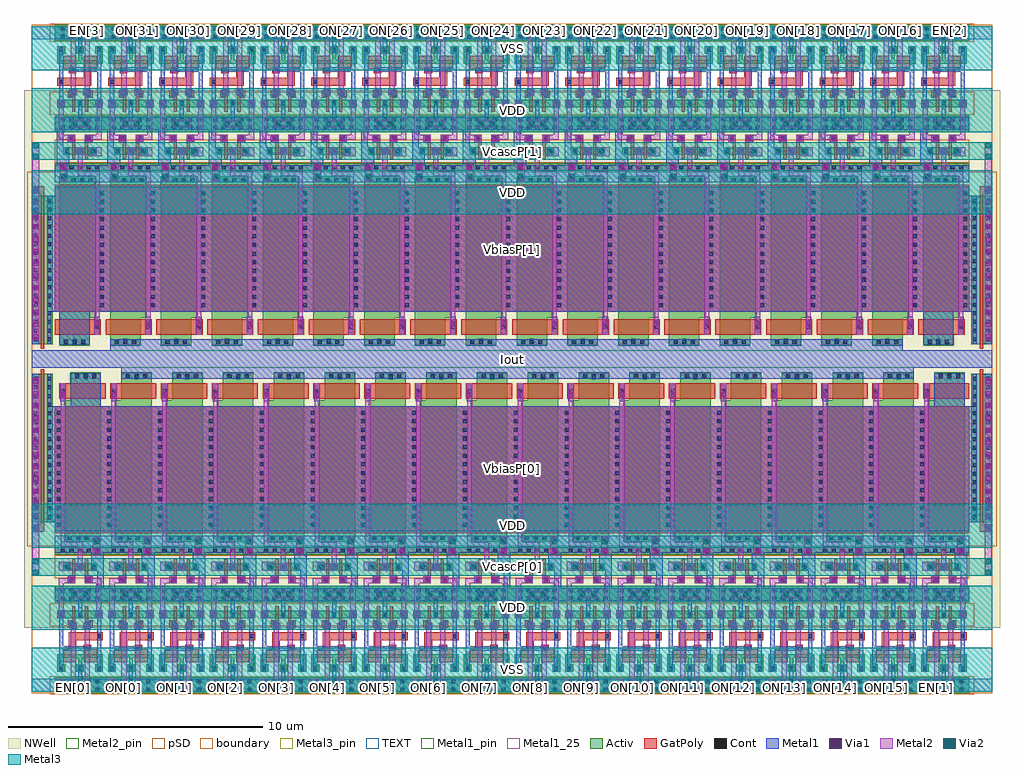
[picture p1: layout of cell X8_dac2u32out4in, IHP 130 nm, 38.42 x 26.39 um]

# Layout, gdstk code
from math import pi, radians
import gdstk
lib = gdstk.Library(unit=1e-6, precision=1e-09)
def R(c, l, rs):  # rectangles x0, y0, x1, y1
    for r in rs: c.add(gdstk.rectangle(r[:2], r[2:], *l))
def A(c, l, x, y, w, h, nx, ny, dx, dy):  # array of equal rectangles
    R(c, l, [(x+i*dx, y+j*dy, x+i*dx+w, y+j*dy+h) for i in range(nx) for j in range(ny)])
Activ = (1, 0)
GatPoly = (5, 0)
Cont = (6, 0)
Metal1 = (8, 0)
Metal1_pin = (8, 2)
Metal1_25 = (8, 25)
Metal2 = (10, 0)
Metal2_pin = (10, 2)
pSD = (14, 0)
Via1 = (19, 0)
Via2 = (29, 0)
Metal3 = (30, 0)
Metal3_pin = (30, 2)
NWell = (31, 0)
TEXT = (63, 0)
boundary = (189, 4)

x8_feol_contacts_3_1 = lib.new_cell('X8_FEOL$contacts$3$1')
A(x8_feol_contacts_3_1, Cont, 0.125, 0, 0.16, 0.16, 17, 1, 0.34, 0)
R(x8_feol_contacts_3_1, Metal1, [(0,0,5.85,0.16)])

x8_feol_contacts_8 = lib.new_cell('X8_FEOL$contacts$8')
R(x8_feol_contacts_8, Cont, [(0.05,0,0.21,0.16)])
R(x8_feol_contacts_8, Metal1, [(0,0,0.26,0.16)])

x8_via_stack_5 = lib.new_cell('X8_via_stack$5')
R(x8_via_stack_5, Metal2, [(-0.145,-0.35,0.145,0.35)])
R(x8_via_stack_5, Via2, [(-0.095,-0.3,0.095,-0.11), (-0.095,0.11,0.095,0.3)])
R(x8_via_stack_5, Metal3, [(-0.145,-0.35,0.75,0.35)])

x8_via_stack_6 = lib.new_cell('X8_via_stack$6')
R(x8_via_stack_6, Metal1, [(-0.145,-3.025,0.145,3.025)])
R(x8_via_stack_6, Metal2, [(-0.145,-3.025,0.145,3.025)])
A(x8_via_stack_6, Via1, -0.095, -2.975, 0.19, 0.19, 1, 13, 0, 0.48)

x8_cascodebias = lib.new_cell('X8_CASCODEBIAS')
R(x8_cascodebias, Activ, [(-1.9,1.76,-1.07,7.61)])
R(x8_cascodebias, GatPoly, [(-1.9,1.38,-1.41,1.68), (-1.56,1.68,-1.41,7.79)])
R(x8_cascodebias, Metal1, [(-1.3,1.76,-0.77,6.33)])
R(x8_cascodebias, pSD, [(-2.08,1.46,-0.89,7.91)])
R(x8_cascodebias, NWell, [(-2.21,1.45,-0.76,7.92)])
x8_cascodebias.add(gdstk.FlexPath([(-1.75,7.61),(-1.75,1.4)], 0.29, ends="flush", simple_path=True, layer=8, datatype=0))  # Metal1
x8_cascodebias.add(gdstk.FlexPath([(-1.75,1.61),(-1.75,1.96)], 0.16, ends="flush", simple_path=True, layer=8, datatype=0))  # Metal1
x8_cascodebias.add(gdstk.FlexPath([(-1.75,1.93),(-1.75,0)], 0.29, ends="flush", simple_path=True, layer=10, datatype=0))  # Metal2
x8_cascodebias.add(gdstk.Reference(x8_feol_contacts_3_1, (-1.67,1.76), rotation=pi/2))
x8_cascodebias.add(gdstk.Reference(x8_feol_contacts_3_1, (-1.14,1.76), rotation=pi/2))
x8_cascodebias.add(gdstk.Reference(x8_feol_contacts_8, (-1.67,1.4), rotation=pi/2))
x8_cascodebias.add(gdstk.Reference(x8_via_stack_5, (-1.75,0)))
x8_cascodebias.add(gdstk.Reference(x8_via_stack_6, (-1.75,4.425)))

x8_feol_contacts_4_1_1_1 = lib.new_cell('X8_FEOL$contacts$4$1$1$1')
A(x8_feol_contacts_4_1_1_1, Cont, 0.175, 0, 0.16, 0.16, 14, 1, 0.34, 0)
R(x8_feol_contacts_4_1_1_1, Metal1, [(0,0,4.93,0.16)])

x8_feol_contacts_7_1_1_1 = lib.new_cell('X8_FEOL$contacts$7$1$1$1')
A(x8_feol_contacts_7_1_1_1, Cont, 0.135, 0, 0.16, 0.16, 4, 1, 0.34, 0)
R(x8_feol_contacts_7_1_1_1, Metal1, [(0,0,1.45,0.16)])

x8_feol_contacts_5_1_1_1 = lib.new_cell('X8_FEOL$contacts$5$1$1$1')
A(x8_feol_contacts_5_1_1_1, Cont, 0.2, 0, 0.16, 0.16, 5, 1, 0.34, 0)
R(x8_feol_contacts_5_1_1_1, Metal1, [(0,0,1.92,0.16)])

x8_feol_contacts_6_1_1_1 = lib.new_cell('X8_FEOL$contacts$6$1$1$1')
A(x8_feol_contacts_6_1_1_1, Cont, 0.16, 0, 0.16, 0.16, 3, 1, 0.34, 0)
R(x8_feol_contacts_6_1_1_1, Metal1, [(0,0,1.16,0.16)])

x8_feol_contacts_1_2_1_1 = lib.new_cell('X8_FEOL$contacts$1$2$1$1')
R(x8_feol_contacts_1_2_1_1, Cont, [(0.18,0,0.34,0.16)])
R(x8_feol_contacts_1_2_1_1, Metal1, [(0,0,0.52,0.16)])

x8_pcsource2u = lib.new_cell('X8_PCSOURCE2U')
R(x8_pcsource2u, Activ, [(-1,-6.3,1,-6), (-0.63,-5.79,0.82,-0.22), (-0.38,-0.38,0.82,0.88)])
R(x8_pcsource2u, GatPoly, [(-1,-5.45,1,-0.45), (-0.82,-0.15,1,0.45)])
R(x8_pcsource2u, Metal1, [(-1,-6.23,1,-5.56), (-1,-5.38,1,-0.45), (-0.78,-0.265,-0.56,0.445), (-0.375,0.625,0.815,0.835)])
R(x8_pcsource2u, Metal1_pin, [(-1,-6.23,1,-5.56), (-1,-5.38,1,-0.45)])
R(x8_pcsource2u, Metal1_25, [(-0.375,0.625,0.815,0.835)])
R(x8_pcsource2u, Metal2, [(-0.78,-0.145,-0.56,0.445)])
R(x8_pcsource2u, Metal2_pin, [(-0.775,-0.145,-0.565,0.445)])
R(x8_pcsource2u, pSD, [(-1.12,-5.97,1.12,1.06)])
R(x8_pcsource2u, Via1, [(-0.765,-0.095,-0.575,0.095)])
R(x8_pcsource2u, NWell, [(-1.24,-6.54,1.24,1.19)])
R(x8_pcsource2u, TEXT, [(0.14,0.585,0.3,0.875), (0.125,0.635,0.315,0.825)])
R(x8_pcsource2u, boundary, [(-1,-6.3,1,0.88)])
x8_pcsource2u.add(gdstk.Reference(x8_feol_contacts_4_1_1_1, (-0.77,-5.38), rotation=pi/2))
x8_pcsource2u.add(gdstk.Reference(x8_feol_contacts_7_1_1_1, (-0.63,-5.72)))
x8_pcsource2u.add(gdstk.Reference(x8_feol_contacts_5_1_1_1, (-0.96,-6.23)))
x8_pcsource2u.add(gdstk.Reference(x8_feol_contacts_6_1_1_1, (-0.36,0.65)))
x8_pcsource2u.add(gdstk.Reference(x8_feol_contacts_1_2_1_1, (-0.59,-0.11), rotation=pi/2))
x8_pcsource2u.add(gdstk.Label('VbiasP', (0,-2.915), layer=8, texttype=25))
x8_pcsource2u.add(gdstk.Label('VDD', (0,-5.895), layer=8, texttype=25))
x8_pcsource2u.add(gdstk.Label('Iout', (0.22,0.73), layer=8, texttype=25))
x8_pcsource2u.add(gdstk.Label('VcascodeP', (-0.67,0), layer=10, texttype=25))

x8_feol_contacts_9_1 = lib.new_cell('X8_FEOL$contacts$9$1')
R(x8_feol_contacts_9_1, Cont, [(0.05,0,0.21,0.16)])
R(x8_feol_contacts_9_1, Metal1, [(0,0,0.26,0.16)])

x8_via_stack_2_1_1_1 = lib.new_cell('X8_via_stack$2$1$1$1')
R(x8_via_stack_2_1_1_1, Metal1, [(-0.145,-0.145,0.145,0.145)])
R(x8_via_stack_2_1_1_1, Metal2, [(-0.145,-0.145,0.145,0.145)])
R(x8_via_stack_2_1_1_1, Via1, [(-0.095,-0.095,0.095,0.095)])

x8_via_stack_3_1_1 = lib.new_cell('X8_via_stack$3$1$1')
R(x8_via_stack_3_1_1, Metal1, [(-0.145,-0.145,0.145,0.145)])
R(x8_via_stack_3_1_1, Metal2, [(-0.145,-0.145,0.145,0.145)])
R(x8_via_stack_3_1_1, Via1, [(-0.095,-0.095,0.095,0.095)])
R(x8_via_stack_3_1_1, Via2, [(-0.095,-0.095,0.095,0.095)])
R(x8_via_stack_3_1_1, Metal3, [(-0.145,-0.145,0.145,0.145)])

x8_dac_sw = lib.new_cell('X8_DAC_SW')
R(x8_dac_sw, Activ, [(-0.66,-0.15,0.66,0.15)])
R(x8_dac_sw, GatPoly, [(-0.49,-0.65,-0.19,-0.35), (0.19,-0.65,0.49,-0.35), (-0.32,-0.375,-0.19,0.33), (0.19,-0.375,0.32,0.33)])
A(x8_dac_sw, Cont, -0.59, -0.08, 0.16, 0.16, 3, 1, 0.51, 0)
A(x8_dac_sw, Metal1, -0.59, -0.13, 0.16, 0.26, 3, 1, 0.51, 0)
R(x8_dac_sw, Metal1, [(-0.49,-0.65,-0.19,-0.35), (0.19,-0.65,0.49,-0.35), (-0.66,-0.15,-0.36,0.15), (-0.15,-0.15,0.15,0.15)])
R(x8_dac_sw, Metal2, [(-0.845,-0.145,-0.365,0.205)])
R(x8_dac_sw, pSD, [(-1,-0.45,1,0.45)])
R(x8_dac_sw, NWell, [(-1,-0.5,1,0.5)])
R(x8_dac_sw, boundary, [(-1,-0.36,1,0.36)])
x8_dac_sw.add(gdstk.FlexPath([(0.43,0),(0.8,0),(0.8,-0.985)], 0.26, ends="flush", simple_path=True, layer=8, datatype=0))  # Metal1
x8_dac_sw.add(gdstk.FlexPath([(-0.745,-1.95),(-0.745,-0.545),(-0.24,-0.545)], 0.2, ends="flush", simple_path=True, layer=10, datatype=0))  # Metal2
x8_dac_sw.add(gdstk.FlexPath([(0.74,-1.95),(0.74,-0.545),(0.24,-0.545)], 0.2, ends="flush", simple_path=True, layer=10, datatype=0))  # Metal2
x8_dac_sw.add(gdstk.Reference(x8_feol_contacts_9_1, (-0.26,-0.63), rotation=pi/2))
x8_dac_sw.add(gdstk.Reference(x8_feol_contacts_9_1, (0.42,-0.63), rotation=pi/2))
x8_dac_sw.add(gdstk.Reference(x8_via_stack_2_1_1_1, (-0.34,-0.5)))
x8_dac_sw.add(gdstk.Reference(x8_via_stack_3_1_1, (-0.51,0)))
x8_dac_sw.add(gdstk.Reference(x8_via_stack_2_1_1_1, (0.34,-0.5)))
x8_dac_sw.add(gdstk.Reference(x8_via_stack_2_1_1_1, (0,0)))

x8_feol_contacts_3_2_1 = lib.new_cell('X8_FEOL$contacts$3$2$1')
A(x8_feol_contacts_3_2_1, Cont, 0.2, 0, 0.16, 0.16, 5, 2, 0.34, 0.34)
R(x8_feol_contacts_3_2_1, Metal1, [(0,0,1.92,0.5)])

x8_feol_contacts_1_1_1_1 = lib.new_cell('X8_FEOL$contacts$1$1$1$1$1')
R(x8_feol_contacts_1_1_1_1, Cont, [(0.05,0,0.21,0.16)])
R(x8_feol_contacts_1_1_1_1, Metal1, [(0,0,0.26,0.16)])

x8_via_stack_1_1_1_1_1 = lib.new_cell('X8_via_stack$1$1$1$1$1')
R(x8_via_stack_1_1_1_1_1, Metal1, [(-0.145,-0.145,0.145,0.145)])
R(x8_via_stack_1_1_1_1_1, Metal2, [(-0.145,-0.145,0.145,0.145)])
R(x8_via_stack_1_1_1_1_1, Via1, [(-0.095,-0.095,0.095,0.095)])

x8_nonoverlap = lib.new_cell('X8_NONOVERLAP')
A(x8_nonoverlap, Activ, -0.895, -2.25, 0.3, 0.3, 3, 1, 0.745, 0)
R(x8_nonoverlap, Activ, [(-1,-3.1,1,-2.46), (-0.895,-1.7,0.895,-1.55), (-0.895,-0.15,0.895,0.15), (-1,0.48,1,1.12)])
R(x8_nonoverlap, GatPoly, [(-0.665,-1.88,-0.145,-1.37), (0.145,-1.88,0.665,-1.37), (0.145,-1.48,0.445,-1.18), (0.595,-1,0.895,-0.7), (-0.49,-0.52,-0.19,-0.22), (0.19,-0.52,0.49,-0.22), (-0.32,-0.33,-0.19,0.33), (0.19,-0.33,0.32,0.33)])
R(x8_nonoverlap, Metal1, [(-1,-3.03,1,-2.53), (-1,0.55,1,1.05), (-1,0.55,1,1.05)])
R(x8_nonoverlap, Metal1_pin, [(-1,-3.03,1,-2.53), (-1,0.55,1,1.05)])
R(x8_nonoverlap, Metal2_pin, [(-0.42,-0.6,-0.13,-0.31), (0.13,-0.6,0.42,-0.31), (-0.89,-0.12,-0.6,0.17), (0.6,-0.12,0.89,0.17)])
R(x8_nonoverlap, pSD, [(-1.195,-3.13,1.195,-2.43), (-1.195,-0.45,1.195,0.45)])
R(x8_nonoverlap, NWell, [(-1.24,-0.505,1.24,1.44)])
R(x8_nonoverlap, boundary, [(-1,-3.1,1,1.12)])
x8_nonoverlap.add(gdstk.FlexPath([(0.38,-1.33),(-0.745,-1.33)], 0.16, ends="flush", simple_path=True, layer=8, datatype=0))  # Metal1
x8_nonoverlap.add(gdstk.FlexPath([(-0.745,-2.02),(-0.745,-0.08)], 0.16, ends="flush", simple_path=True, layer=8, datatype=0))  # Metal1
x8_nonoverlap.add(gdstk.FlexPath([(0.745,-2.02),(0.745,-0.08)], 0.16, ends="flush", simple_path=True, layer=8, datatype=0))  # Metal1
x8_nonoverlap.add(gdstk.FlexPath([(0,-2.02),(0,-2.69)], 0.16, ends="flush", simple_path=True, layer=8, datatype=0))  # Metal1
x8_nonoverlap.add(gdstk.FlexPath([(0,0.71),(0,-0.08)], 0.16, ends="flush", simple_path=True, layer=8, datatype=0))  # Metal1
x8_nonoverlap.add(gdstk.FlexPath([(0,-1.63),(0,-2.18)], 0.15, ends="flush", simple_path=True, layer=1, datatype=0))  # Activ
x8_nonoverlap.add(gdstk.FlexPath([(0.82,-1.635),(0.82,-2.18)], 0.15, ends="flush", simple_path=True, layer=1, datatype=0))  # Activ
x8_nonoverlap.add(gdstk.FlexPath([(-0.82,-1.63),(-0.82,-2.18)], 0.15, ends="flush", simple_path=True, layer=1, datatype=0))  # Activ
x8_nonoverlap.add(gdstk.FlexPath([(-0.295,-1.475),(-0.295,-0.85),(0.745,-0.85)], 0.3, ends="flush", simple_path=True, layer=5, datatype=0))  # GatPoly
x8_nonoverlap.add(gdstk.Reference(x8_feol_contacts_3_2_1, (-0.96,0.55)))
x8_nonoverlap.add(gdstk.Reference(x8_feol_contacts_1_1_1_1, (0.825,-0.13), rotation=pi/2))
x8_nonoverlap.add(gdstk.Reference(x8_feol_contacts_1_1_1_1, (0.08,-0.13), rotation=pi/2))
x8_nonoverlap.add(gdstk.Reference(x8_feol_contacts_1_1_1_1, (-0.665,-0.13), rotation=pi/2))
x8_nonoverlap.add(gdstk.Reference(x8_feol_contacts_1_1_1_1, (-0.26,-0.5), rotation=pi/2))
x8_nonoverlap.add(gdstk.Reference(x8_feol_contacts_1_1_1_1, (0.42,-0.5), rotation=pi/2))
x8_nonoverlap.add(gdstk.Reference(x8_feol_contacts_1_1_1_1, (-0.665,-2.23), rotation=pi/2))
x8_nonoverlap.add(gdstk.Reference(x8_feol_contacts_1_1_1_1, (0.165,-1.41)))
x8_nonoverlap.add(gdstk.Reference(x8_feol_contacts_1_1_1_1, (0.825,-2.23), rotation=pi/2))
x8_nonoverlap.add(gdstk.Reference(x8_feol_contacts_1_1_1_1, (0.08,-2.23), rotation=pi/2))
x8_nonoverlap.add(gdstk.Reference(x8_feol_contacts_3_2_1, (-0.96,-3.03)))
x8_nonoverlap.add(gdstk.Reference(x8_via_stack_1_1_1_1_1, (0.275,-0.455)))
x8_nonoverlap.add(gdstk.Reference(x8_via_stack_1_1_1_1_1, (-0.275,-0.455)))
x8_nonoverlap.add(gdstk.Reference(x8_via_stack_1_1_1_1_1, (0.745,0.025)))
x8_nonoverlap.add(gdstk.Reference(x8_via_stack_1_1_1_1_1, (-0.745,0.025)))
x8_nonoverlap.add(gdstk.Reference(x8_feol_contacts_1_1_1_1, (0.825,-0.98), rotation=pi/2))
x8_nonoverlap.add(gdstk.Label('VSS', (0,-2.78), layer=8, texttype=25))
x8_nonoverlap.add(gdstk.Label('VDD', (0,0.8), layer=8, texttype=25))
x8_nonoverlap.add(gdstk.Label('OUTN', (-0.745,0.025), layer=10, texttype=25))
x8_nonoverlap.add(gdstk.Label('INP', (-0.275,-0.455), layer=10, texttype=25))
x8_nonoverlap.add(gdstk.Label('OUTP', (0.745,0.025), layer=10, texttype=25))
x8_nonoverlap.add(gdstk.Label('INN', (0.275,-0.455), layer=10, texttype=25))

x8_cascodedrive = lib.new_cell('X8_CASCODEDRIVE')
x8_cascodedrive.add(gdstk.Reference(x8_dac_sw, (0,0)))
x8_cascodedrive.add(gdstk.Reference(x8_nonoverlap, (0,-1.88)))

x8_via_stack_7_2 = lib.new_cell('X8_via_stack$7$2')
R(x8_via_stack_7_2, Metal1, [(-0.145,-0.35,0.145,0.35)])
R(x8_via_stack_7_2, Metal2, [(-0.145,-0.35,0.145,0.35)])
R(x8_via_stack_7_2, Via1, [(-0.095,-0.3,0.095,-0.11), (-0.095,0.11,0.095,0.3)])

x8_via_stack_4_1 = lib.new_cell('X8_via_stack$4$1')
R(x8_via_stack_4_1, Metal1, [(-0.35,-0.145,0.35,0.145)])
R(x8_via_stack_4_1, Metal2, [(-0.35,-0.145,0.35,0.145)])
R(x8_via_stack_4_1, Via1, [(-0.3,-0.095,-0.11,0.095), (0.11,-0.095,0.3,0.095)])
R(x8_via_stack_4_1, Via2, [(-0.3,-0.095,-0.11,0.095), (0.11,-0.095,0.3,0.095)])
R(x8_via_stack_4_1, Metal3, [(-0.35,-0.145,0.35,0.145)])

x8_via_stack_6_2_1 = lib.new_cell('X8_via_stack$6$2$1')
R(x8_via_stack_6_2_1, Metal2, [(-0.145,-0.145,0.145,0.145)])
R(x8_via_stack_6_2_1, Via2, [(-0.095,-0.095,0.095,0.095)])
R(x8_via_stack_6_2_1, Metal3, [(-0.145,-0.145,0.145,0.145)])

x8_via_stack_9_1 = lib.new_cell('X8_via_stack$9$1')
R(x8_via_stack_9_1, Metal1, [(-0.145,-0.145,0.145,0.145)])
R(x8_via_stack_9_1, Metal2, [(-0.145,-0.145,0.145,0.145)])
R(x8_via_stack_9_1, Via1, [(-0.095,-0.095,0.095,0.095)])
R(x8_via_stack_9_1, Via2, [(-0.095,-0.095,0.095,0.095)])
R(x8_via_stack_9_1, Metal3, [(-0.145,-0.145,0.145,0.145)])

x8_unitsource2u = lib.new_cell('X8_unitsource2u')
R(x8_unitsource2u, Metal1, [(0.43,-0.13,0.93,0.71)])
R(x8_unitsource2u, Metal1_pin, [(-1,0.55,1,1.22), (-1,1.4,1,6.33), (-0.375,7.405,0.815,7.615)])
R(x8_unitsource2u, Metal2, [(-0.92,-4.91,-0.63,-4.41)])
R(x8_unitsource2u, Metal2_pin, [(-0.375,-4.91,-0.175,-4.62), (0.175,-4.91,0.375,-4.62)])
R(x8_unitsource2u, Metal3, [(-1,-4.91,1,-3.18), (-1,-2.48,1,-0.75), (-1,0.75,1,2.48)])
R(x8_unitsource2u, Metal3_pin, [(-1,-4.91,1,-3.18), (-1,-2.48,1,-0.75), (-1,-0.35,1,0.35), (-1,0.75,1,2.48)])
R(x8_unitsource2u, NWell, [(-1.24,-2.385,1.24,7.97)])
x8_unitsource2u.add(gdstk.FlexPath([(-0.275,-4.91),(-0.275,-2.19)], 0.2, ends="flush", simple_path=True, layer=10, datatype=0))  # Metal2
x8_unitsource2u.add(gdstk.FlexPath([(0.275,-4.91),(0.275,-2.19)], 0.2, ends="flush", simple_path=True, layer=10, datatype=0))  # Metal2
x8_unitsource2u.add(gdstk.FlexPath([(-0.67,6.685),(-0.67,0.885),(0,0.885),(0,0.095)], 0.2, ends="flush", simple_path=True, layer=10, datatype=0))  # Metal2
x8_unitsource2u.add(gdstk.FlexPath([(-1,0),(1,0)], 0.7, ends="flush", simple_path=True, layer=30, datatype=0))  # Metal3
x8_unitsource2u.add(gdstk.Reference(x8_pcsource2u, (0,6.78)))
x8_unitsource2u.add(gdstk.Reference(x8_cascodedrive, (0,0)))
x8_unitsource2u.add(gdstk.Reference(x8_via_stack_7_2, (0.65,0.87)))
x8_unitsource2u.add(gdstk.Reference(x8_via_stack_4_1, (0,-1.08)))
x8_unitsource2u.add(gdstk.Reference(x8_via_stack_6_2_1, (0.65,0.985)))
x8_unitsource2u.add(gdstk.Reference(x8_via_stack_9_1, (-0.775,-4.66)))
x8_unitsource2u.add(gdstk.Label('VDD', (0,1.615), layer=30, texttype=0))
x8_unitsource2u.add(gdstk.Label('VbiasP', (0,3.865), layer=8, texttype=25))
x8_unitsource2u.add(gdstk.Label('Iout', (0.22,7.51), layer=8, texttype=25))
x8_unitsource2u.add(gdstk.Label('ON', (-0.275,-4.765), layer=10, texttype=25))
x8_unitsource2u.add(gdstk.Label('ONB', (0.275,-4.765), layer=10, texttype=25))
x8_unitsource2u.add(gdstk.Label('VSS', (0,-4.045), layer=30, texttype=25))
x8_unitsource2u.add(gdstk.Label('VDD', (0,-1.615), layer=30, texttype=25))
x8_unitsource2u.add(gdstk.Label('VcascP', (0,0), layer=30, texttype=25))

x8_dac2u16out2in = lib.new_cell('X8_dac2u16out2in')
R(x8_dac2u16out2in, Metal1, [(-0.375,6.2,0.815,7.615), (33.625,6.2,34.815,7.615), (1.625,7.405,32.815,8.535)])
R(x8_dac2u16out2in, Metal1_pin, [(-1,1.4,35,6.33), (-1.9,7.835,35.9,8.535)])
R(x8_dac2u16out2in, Metal2_pin, [(-0.375,-4.91,-0.175,-4.62), (-0.375,-4.91,-0.175,-4.62), (0.175,-4.91,0.375,-4.62), (0.175,-4.91,0.375,-4.62), (1.625,-4.91,1.825,-4.62), (1.625,-4.91,1.825,-4.62), (2.175,-4.91,2.375,-4.62), (2.175,-4.91,2.375,-4.62), (3.625,-4.91,3.825,-4.62), (3.625,-4.91,3.825,-4.62), (4.175,-4.91,4.375,-4.62), (4.175,-4.91,4.375,-4.62), (5.625,-4.91,5.825,-4.62), (5.625,-4.91,5.825,-4.62), (6.175,-4.91,6.375,-4.62), (6.175,-4.91,6.375,-4.62), (7.625,-4.91,7.825,-4.62), (7.625,-4.91,7.825,-4.62), (8.175,-4.91,8.375,-4.62), (8.175,-4.91,8.375,-4.62), (9.625,-4.91,9.825,-4.62), (9.625,-4.91,9.825,-4.62), (10.175,-4.91,10.375,-4.62), (10.175,-4.91,10.375,-4.62), (11.625,-4.91,11.825,-4.62), (11.625,-4.91,11.825,-4.62), (12.175,-4.91,12.375,-4.62), (12.175,-4.91,12.375,-4.62), (13.625,-4.91,13.825,-4.62), (13.625,-4.91,13.825,-4.62), (14.175,-4.91,14.375,-4.62), (14.175,-4.91,14.375,-4.62), (15.625,-4.91,15.825,-4.62), (15.625,-4.91,15.825,-4.62), (16.175,-4.91,16.375,-4.62), (16.175,-4.91,16.375,-4.62), (17.625,-4.91,17.825,-4.62), (17.625,-4.91,17.825,-4.62), (18.175,-4.91,18.375,-4.62), (18.175,-4.91,18.375,-4.62), (19.625,-4.91,19.825,-4.62), (19.625,-4.91,19.825,-4.62), (20.175,-4.91,20.375,-4.62), (20.175,-4.91,20.375,-4.62), (21.625,-4.91,21.825,-4.62), (21.625,-4.91,21.825,-4.62), (22.175,-4.91,22.375,-4.62), (22.175,-4.91,22.375,-4.62), (23.625,-4.91,23.825,-4.62), (23.625,-4.91,23.825,-4.62), (24.175,-4.91,24.375,-4.62), (24.175,-4.91,24.375,-4.62), (25.625,-4.91,25.825,-4.62), (25.625,-4.91,25.825,-4.62), (26.175,-4.91,26.375,-4.62), (26.175,-4.91,26.375,-4.62), (27.625,-4.91,27.825,-4.62), (27.625,-4.91,27.825,-4.62), (28.175,-4.91,28.375,-4.62), (28.175,-4.91,28.375,-4.62), (29.625,-4.91,29.825,-4.62), (29.625,-4.91,29.825,-4.62), (30.175,-4.91,30.375,-4.62), (30.175,-4.91,30.375,-4.62), (31.625,-4.91,31.825,-4.62), (31.625,-4.91,31.825,-4.62), (32.175,-4.91,32.375,-4.62), (32.175,-4.91,32.375,-4.62), (33.625,-4.91,33.825,-4.62), (33.625,-4.91,33.825,-4.62), (34.175,-4.91,34.375,-4.62), (34.175,-4.91,34.375,-4.62)])
R(x8_dac2u16out2in, Metal3_pin, [(-1.9,-4.91,35.9,-3.18), (-1.9,-2.48,35.9,-0.75), (-1.9,-0.35,35.9,0.35), (-1.9,0.75,35.9,2.48)])
x8_dac2u16out2in.add(gdstk.FlexPath([(-1.9,8.185),(35.9,8.185)], 0.7, ends="flush", simple_path=True, layer=8, datatype=0))  # Metal1
x8_dac2u16out2in.add(gdstk.FlexPath([(-1.9,-4.66),(35.9,-4.66)], 0.5, ends="flush", simple_path=True, layer=8, datatype=0))  # Metal1
x8_dac2u16out2in.add(gdstk.FlexPath([(-1.9,1.615),(35.9,1.615)], 1.73, ends="flush", simple_path=True, layer=30, datatype=0))  # Metal3
x8_dac2u16out2in.add(gdstk.FlexPath([(-1.9,0),(35.9,0)], 0.7, ends="flush", simple_path=True, layer=30, datatype=0))  # Metal3
x8_dac2u16out2in.add(gdstk.FlexPath([(-1.9,-1.615),(35.9,-1.615)], 1.73, ends="flush", simple_path=True, layer=30, datatype=0))  # Metal3
x8_dac2u16out2in.add(gdstk.FlexPath([(-1.9,-4.045),(35.9,-4.045)], 1.73, ends="flush", simple_path=True, layer=30, datatype=0))  # Metal3
x8_dac2u16out2in.add(gdstk.Reference(x8_cascodebias, (0,0)))
r = gdstk.Reference(x8_unitsource2u, (0,0)); r.repetition = gdstk.Repetition(18, 1, v1=(2,0), v2=(0,0)); x8_dac2u16out2in.add(r)
x8_dac2u16out2in.add(gdstk.Reference(x8_cascodebias, (34,0), rotation=pi, x_reflection=True))
x8_dac2u16out2in.add(gdstk.Label('VbiasP', (17,3.865), layer=8, texttype=25))
x8_dac2u16out2in.add(gdstk.Label('Iout', (17,8.185), layer=8, texttype=25))
x8_dac2u16out2in.add(gdstk.Label('EN[1]', (33.725,-4.765), layer=10, texttype=25))
x8_dac2u16out2in.add(gdstk.Label('ENB[1]', (34.275,-4.765), layer=10, texttype=25))
x8_dac2u16out2in.add(gdstk.Label('ON[0]', (1.725,-4.765), layer=10, texttype=25))
x8_dac2u16out2in.add(gdstk.Label('ONB[0]', (2.275,-4.765), layer=10, texttype=25))
x8_dac2u16out2in.add(gdstk.Label('ON[1]', (3.725,-4.765), layer=10, texttype=25))
x8_dac2u16out2in.add(gdstk.Label('ONB[1]', (4.275,-4.765), layer=10, texttype=25))
x8_dac2u16out2in.add(gdstk.Label('ON[2]', (5.725,-4.765), layer=10, texttype=25))
x8_dac2u16out2in.add(gdstk.Label('ONB[2]', (6.275,-4.765), layer=10, texttype=25))
x8_dac2u16out2in.add(gdstk.Label('ON[3]', (7.725,-4.765), layer=10, texttype=25))
x8_dac2u16out2in.add(gdstk.Label('ONB[3]', (8.275,-4.765), layer=10, texttype=25))
x8_dac2u16out2in.add(gdstk.Label('ON[4]', (9.725,-4.765), layer=10, texttype=25))
x8_dac2u16out2in.add(gdstk.Label('ONB[4]', (10.275,-4.765), layer=10, texttype=25))
x8_dac2u16out2in.add(gdstk.Label('EN[0]', (-0.275,-4.765), layer=10, texttype=25))
x8_dac2u16out2in.add(gdstk.Label('ENB[0]', (0.275,-4.765), layer=10, texttype=25))
x8_dac2u16out2in.add(gdstk.Label('ON', (-0.275,-4.765), layer=10, texttype=25))
x8_dac2u16out2in.add(gdstk.Label('ONB', (0.275,-4.765), layer=10, texttype=25))
x8_dac2u16out2in.add(gdstk.Label('ON', (1.725,-4.765), layer=10, texttype=25))
x8_dac2u16out2in.add(gdstk.Label('ONB', (2.275,-4.765), layer=10, texttype=25))
x8_dac2u16out2in.add(gdstk.Label('ON', (3.725,-4.765), layer=10, texttype=25))
x8_dac2u16out2in.add(gdstk.Label('ONB', (4.275,-4.765), layer=10, texttype=25))
x8_dac2u16out2in.add(gdstk.Label('ON', (5.725,-4.765), layer=10, texttype=25))
x8_dac2u16out2in.add(gdstk.Label('ONB', (6.275,-4.765), layer=10, texttype=25))
x8_dac2u16out2in.add(gdstk.Label('ON', (7.725,-4.765), layer=10, texttype=25))
x8_dac2u16out2in.add(gdstk.Label('ONB', (8.275,-4.765), layer=10, texttype=25))
x8_dac2u16out2in.add(gdstk.Label('ON', (9.725,-4.765), layer=10, texttype=25))
x8_dac2u16out2in.add(gdstk.Label('ONB', (10.275,-4.765), layer=10, texttype=25))
x8_dac2u16out2in.add(gdstk.Label('ON[5]', (11.725,-4.765), layer=10, texttype=25))
x8_dac2u16out2in.add(gdstk.Label('ONB[5]', (12.275,-4.765), layer=10, texttype=25))
x8_dac2u16out2in.add(gdstk.Label('ON[6]', (13.725,-4.765), layer=10, texttype=25))
x8_dac2u16out2in.add(gdstk.Label('ONB[6]', (14.275,-4.765), layer=10, texttype=25))
x8_dac2u16out2in.add(gdstk.Label('ON[7]', (15.725,-4.765), layer=10, texttype=25))
x8_dac2u16out2in.add(gdstk.Label('ONB[7]', (16.275,-4.765), layer=10, texttype=25))
x8_dac2u16out2in.add(gdstk.Label('ON[8]', (17.725,-4.765), layer=10, texttype=25))
x8_dac2u16out2in.add(gdstk.Label('ONB[8]', (18.275,-4.765), layer=10, texttype=25))
x8_dac2u16out2in.add(gdstk.Label('ON[9]', (19.725,-4.765), layer=10, texttype=25))
x8_dac2u16out2in.add(gdstk.Label('ONB[9]', (20.275,-4.765), layer=10, texttype=25))
x8_dac2u16out2in.add(gdstk.Label('ON[10]', (21.725,-4.765), layer=10, texttype=25))
x8_dac2u16out2in.add(gdstk.Label('ONB[10]', (22.275,-4.765), layer=10, texttype=25))
x8_dac2u16out2in.add(gdstk.Label('ON', (11.725,-4.765), layer=10, texttype=25))
x8_dac2u16out2in.add(gdstk.Label('ONB', (12.275,-4.765), layer=10, texttype=25))
x8_dac2u16out2in.add(gdstk.Label('ON', (13.725,-4.765), layer=10, texttype=25))
x8_dac2u16out2in.add(gdstk.Label('ONB', (14.275,-4.765), layer=10, texttype=25))
x8_dac2u16out2in.add(gdstk.Label('ON', (15.725,-4.765), layer=10, texttype=25))
x8_dac2u16out2in.add(gdstk.Label('ONB', (16.275,-4.765), layer=10, texttype=25))
x8_dac2u16out2in.add(gdstk.Label('ON', (17.725,-4.765), layer=10, texttype=25))
x8_dac2u16out2in.add(gdstk.Label('ONB', (18.275,-4.765), layer=10, texttype=25))
x8_dac2u16out2in.add(gdstk.Label('ON', (19.725,-4.765), layer=10, texttype=25))
x8_dac2u16out2in.add(gdstk.Label('ONB', (20.275,-4.765), layer=10, texttype=25))
x8_dac2u16out2in.add(gdstk.Label('ON', (21.725,-4.765), layer=10, texttype=25))
x8_dac2u16out2in.add(gdstk.Label('ONB', (22.275,-4.765), layer=10, texttype=25))
x8_dac2u16out2in.add(gdstk.Label('ON[11]', (23.725,-4.765), layer=10, texttype=25))
x8_dac2u16out2in.add(gdstk.Label('ONB[11]', (24.275,-4.765), layer=10, texttype=25))
x8_dac2u16out2in.add(gdstk.Label('ON[12]', (25.725,-4.765), layer=10, texttype=25))
x8_dac2u16out2in.add(gdstk.Label('ONB[12]', (26.275,-4.765), layer=10, texttype=25))
x8_dac2u16out2in.add(gdstk.Label('ON[13]', (27.725,-4.765), layer=10, texttype=25))
x8_dac2u16out2in.add(gdstk.Label('ONB[13]', (28.275,-4.765), layer=10, texttype=25))
x8_dac2u16out2in.add(gdstk.Label('ON[14]', (29.725,-4.765), layer=10, texttype=25))
x8_dac2u16out2in.add(gdstk.Label('ONB[14]', (30.275,-4.765), layer=10, texttype=25))
x8_dac2u16out2in.add(gdstk.Label('ON[15]', (31.725,-4.765), layer=10, texttype=25))
x8_dac2u16out2in.add(gdstk.Label('ONB[15]', (32.275,-4.765), layer=10, texttype=25))
x8_dac2u16out2in.add(gdstk.Label('ON', (23.725,-4.765), layer=10, texttype=25))
x8_dac2u16out2in.add(gdstk.Label('ONB', (24.275,-4.765), layer=10, texttype=25))
x8_dac2u16out2in.add(gdstk.Label('ON', (25.725,-4.765), layer=10, texttype=25))
x8_dac2u16out2in.add(gdstk.Label('ONB', (26.275,-4.765), layer=10, texttype=25))
x8_dac2u16out2in.add(gdstk.Label('ON', (27.725,-4.765), layer=10, texttype=25))
x8_dac2u16out2in.add(gdstk.Label('ONB', (28.275,-4.765), layer=10, texttype=25))
x8_dac2u16out2in.add(gdstk.Label('ON', (29.725,-4.765), layer=10, texttype=25))
x8_dac2u16out2in.add(gdstk.Label('ONB', (30.275,-4.765), layer=10, texttype=25))
x8_dac2u16out2in.add(gdstk.Label('ON', (31.725,-4.765), layer=10, texttype=25))
x8_dac2u16out2in.add(gdstk.Label('ONB', (32.275,-4.765), layer=10, texttype=25))
x8_dac2u16out2in.add(gdstk.Label('ON', (33.725,-4.765), layer=10, texttype=25))
x8_dac2u16out2in.add(gdstk.Label('ONB', (34.275,-4.765), layer=10, texttype=25))
x8_dac2u16out2in.add(gdstk.Label('VDD', (17,1.615), layer=30, texttype=25))
x8_dac2u16out2in.add(gdstk.Label('VcascP', (17,0), layer=30, texttype=25))
x8_dac2u16out2in.add(gdstk.Label('VDD', (17,-1.615), layer=30, texttype=25))
x8_dac2u16out2in.add(gdstk.Label('VSS', (17,-4.045), layer=30, texttype=25))

x8_dac2u32out4in = lib.new_cell('X8_dac2u32out4in')
R(x8_dac2u32out4in, Metal1_pin, [(0.9,6.31,36.9,11.24), (0,12.745,37.8,13.445), (0.9,14.95,36.9,19.88)])
R(x8_dac2u32out4in, Metal2_pin, [(1.525,0,1.725,0.29), (2.075,0,2.275,0.29), (3.525,0,3.725,0.29), (4.075,0,4.275,0.29), (5.525,0,5.725,0.29), (6.075,0,6.275,0.29), (7.525,0,7.725,0.29), (8.075,0,8.275,0.29), (9.525,0,9.725,0.29), (10.075,0,10.275,0.29), (11.525,0,11.725,0.29), (12.075,0,12.275,0.29), (13.525,0,13.725,0.29), (14.075,0,14.275,0.29), (15.525,0,15.725,0.29), (16.075,0,16.275,0.29), (17.525,0,17.725,0.29), (18.075,0,18.275,0.29), (19.525,0,19.725,0.29), (20.075,0,20.275,0.29), (21.525,0,21.725,0.29), (22.075,0,22.275,0.29), (23.525,0,23.725,0.29), (24.075,0,24.275,0.29), (25.525,0,25.725,0.29), (26.075,0,26.275,0.29), (27.525,0,27.725,0.29), (28.075,0,28.275,0.29), (29.525,0,29.725,0.29), (30.075,0,30.275,0.29), (31.525,0,31.725,0.29), (32.075,0,32.275,0.29), (33.525,0,33.725,0.29), (34.075,0,34.275,0.29), (35.525,0,35.725,0.29), (36.075,0,36.275,0.29), (1.525,25.9,1.725,26.19), (2.075,25.9,2.275,26.19), (3.525,25.9,3.725,26.19), (4.075,25.9,4.275,26.19), (5.525,25.9,5.725,26.19), (6.075,25.9,6.275,26.19), (7.525,25.9,7.725,26.19), (8.075,25.9,8.275,26.19), (9.525,25.9,9.725,26.19), (10.075,25.9,10.275,26.19), (11.525,25.9,11.725,26.19), (12.075,25.9,12.275,26.19), (13.525,25.9,13.725,26.19), (14.075,25.9,14.275,26.19), (15.525,25.9,15.725,26.19), (16.075,25.9,16.275,26.19), (17.525,25.9,17.725,26.19), (18.075,25.9,18.275,26.19), (19.525,25.9,19.725,26.19), (20.075,25.9,20.275,26.19), (21.525,25.9,21.725,26.19), (22.075,25.9,22.275,26.19), (23.525,25.9,23.725,26.19), (24.075,25.9,24.275,26.19), (25.525,25.9,25.725,26.19), (26.075,25.9,26.275,26.19), (27.525,25.9,27.725,26.19), (28.075,25.9,28.275,26.19), (29.525,25.9,29.725,26.19), (30.075,25.9,30.275,26.19), (31.525,25.9,31.725,26.19), (32.075,25.9,32.275,26.19), (33.525,25.9,33.725,26.19), (34.075,25.9,34.275,26.19), (35.525,25.9,35.725,26.19), (36.075,25.9,36.275,26.19)])
R(x8_dac2u32out4in, pSD, [(-0.18,5.72,37.98,20.47)])
R(x8_dac2u32out4in, Metal3_pin, [(0,0,37.8,1.73), (0,2.43,37.8,4.16), (0,4.56,37.8,5.26), (0,5.66,37.8,7.39), (0,18.8,37.8,20.53), (0,20.93,37.8,21.63), (0,22.03,37.8,23.76), (0,24.46,37.8,26.19)])
R(x8_dac2u32out4in, NWell, [(-0.31,2.525,38.11,23.665)])
R(x8_dac2u32out4in, boundary, [(0,-0.07,37.8,26.26)])
x8_dac2u32out4in.add(gdstk.Reference(x8_dac2u16out2in, (1.9,4.91)))
x8_dac2u32out4in.add(gdstk.Reference(x8_dac2u16out2in, (35.9,21.28), rotation=pi))
x8_dac2u32out4in.add(gdstk.Label('VbiasP[1]', (18.9,17.415), layer=8, texttype=25))
x8_dac2u32out4in.add(gdstk.Label('Iout', (18.9,13.095), layer=8, texttype=25))
x8_dac2u32out4in.add(gdstk.Label('VbiasP[0]', (18.9,8.775), layer=8, texttype=25))
x8_dac2u32out4in.add(gdstk.Label('EN[1]', (35.625,0.145), layer=10, texttype=25))
x8_dac2u32out4in.add(gdstk.Label('ENB[1]', (36.175,0.145), layer=10, texttype=25))
x8_dac2u32out4in.add(gdstk.Label('EN[2]', (36.175,26.045), layer=10, texttype=25))
x8_dac2u32out4in.add(gdstk.Label('ENB[2]', (35.625,26.045), layer=10, texttype=25))
x8_dac2u32out4in.add(gdstk.Label('ON[16]', (34.175,26.045), layer=10, texttype=25))
x8_dac2u32out4in.add(gdstk.Label('ONB[16]', (33.625,26.045), layer=10, texttype=25))
x8_dac2u32out4in.add(gdstk.Label('ON[17]', (32.175,26.045), layer=10, texttype=25))
x8_dac2u32out4in.add(gdstk.Label('ONB[17]', (31.625,26.045), layer=10, texttype=25))
x8_dac2u32out4in.add(gdstk.Label('ON[18]', (30.175,26.045), layer=10, texttype=25))
x8_dac2u32out4in.add(gdstk.Label('ONB[18]', (29.625,26.045), layer=10, texttype=25))
x8_dac2u32out4in.add(gdstk.Label('ON[19]', (28.175,26.045), layer=10, texttype=25))
x8_dac2u32out4in.add(gdstk.Label('ONB[19]', (27.625,26.045), layer=10, texttype=25))
x8_dac2u32out4in.add(gdstk.Label('ON[20]', (26.175,26.045), layer=10, texttype=25))
x8_dac2u32out4in.add(gdstk.Label('ONB[20]', (25.625,26.045), layer=10, texttype=25))
x8_dac2u32out4in.add(gdstk.Label('ON[21]', (24.175,26.045), layer=10, texttype=25))
x8_dac2u32out4in.add(gdstk.Label('ONB[21]', (23.625,26.045), layer=10, texttype=25))
x8_dac2u32out4in.add(gdstk.Label('ON[22]', (22.175,26.045), layer=10, texttype=25))
x8_dac2u32out4in.add(gdstk.Label('ONB[22]', (21.625,26.045), layer=10, texttype=25))
x8_dac2u32out4in.add(gdstk.Label('ON[23]', (20.175,26.045), layer=10, texttype=25))
x8_dac2u32out4in.add(gdstk.Label('ONB[23]', (19.625,26.045), layer=10, texttype=25))
x8_dac2u32out4in.add(gdstk.Label('ON[24]', (18.175,26.045), layer=10, texttype=25))
x8_dac2u32out4in.add(gdstk.Label('ONB[24]', (17.625,26.045), layer=10, texttype=25))
x8_dac2u32out4in.add(gdstk.Label('ON[25]', (16.175,26.045), layer=10, texttype=25))
x8_dac2u32out4in.add(gdstk.Label('ONB[25]', (15.625,26.045), layer=10, texttype=25))
x8_dac2u32out4in.add(gdstk.Label('ON[26]', (14.175,26.045), layer=10, texttype=25))
x8_dac2u32out4in.add(gdstk.Label('ONB[26]', (13.625,26.045), layer=10, texttype=25))
x8_dac2u32out4in.add(gdstk.Label('ON[27]', (12.175,26.045), layer=10, texttype=25))
x8_dac2u32out4in.add(gdstk.Label('ONB[27]', (11.625,26.045), layer=10, texttype=25))
x8_dac2u32out4in.add(gdstk.Label('ON[28]', (10.175,26.045), layer=10, texttype=25))
x8_dac2u32out4in.add(gdstk.Label('ONB[28]', (9.625,26.045), layer=10, texttype=25))
x8_dac2u32out4in.add(gdstk.Label('ON[29]', (8.175,26.045), layer=10, texttype=25))
x8_dac2u32out4in.add(gdstk.Label('ONB[29]', (7.625,26.045), layer=10, texttype=25))
x8_dac2u32out4in.add(gdstk.Label('ON[30]', (6.175,26.045), layer=10, texttype=25))
x8_dac2u32out4in.add(gdstk.Label('ONB[30]', (5.625,26.045), layer=10, texttype=25))
x8_dac2u32out4in.add(gdstk.Label('ON[31]', (4.175,26.045), layer=10, texttype=25))
x8_dac2u32out4in.add(gdstk.Label('ONB[31]', (3.625,26.045), layer=10, texttype=25))
x8_dac2u32out4in.add(gdstk.Label('EN[3]', (2.175,26.045), layer=10, texttype=25))
x8_dac2u32out4in.add(gdstk.Label('ENB[3]', (1.625,26.045), layer=10, texttype=25))
x8_dac2u32out4in.add(gdstk.Label('ON[0]', (3.625,0.145), layer=10, texttype=25))
x8_dac2u32out4in.add(gdstk.Label('ONB[0]', (4.175,0.145), layer=10, texttype=25))
x8_dac2u32out4in.add(gdstk.Label('ON[1]', (5.625,0.145), layer=10, texttype=25))
x8_dac2u32out4in.add(gdstk.Label('ONB[1]', (6.175,0.145), layer=10, texttype=25))
x8_dac2u32out4in.add(gdstk.Label('ON[2]', (7.625,0.145), layer=10, texttype=25))
x8_dac2u32out4in.add(gdstk.Label('ONB[2]', (8.175,0.145), layer=10, texttype=25))
x8_dac2u32out4in.add(gdstk.Label('ON[3]', (9.625,0.145), layer=10, texttype=25))
x8_dac2u32out4in.add(gdstk.Label('ONB[3]', (10.175,0.145), layer=10, texttype=25))
x8_dac2u32out4in.add(gdstk.Label('ON[4]', (11.625,0.145), layer=10, texttype=25))
x8_dac2u32out4in.add(gdstk.Label('ONB[4]', (12.175,0.145), layer=10, texttype=25))
x8_dac2u32out4in.add(gdstk.Label('ON[5]', (13.625,0.145), layer=10, texttype=25))
x8_dac2u32out4in.add(gdstk.Label('ONB[5]', (14.175,0.145), layer=10, texttype=25))
x8_dac2u32out4in.add(gdstk.Label('ON[6]', (15.625,0.145), layer=10, texttype=25))
x8_dac2u32out4in.add(gdstk.Label('EN[0]', (1.625,0.145), layer=10, texttype=25))
x8_dac2u32out4in.add(gdstk.Label('ENB[0]', (2.175,0.145), layer=10, texttype=25))
x8_dac2u32out4in.add(gdstk.Label('ONB[6]', (16.175,0.145), layer=10, texttype=25))
x8_dac2u32out4in.add(gdstk.Label('ON[7]', (17.625,0.145), layer=10, texttype=25))
x8_dac2u32out4in.add(gdstk.Label('ONB[7]', (18.175,0.145), layer=10, texttype=25))
x8_dac2u32out4in.add(gdstk.Label('ON[8]', (19.625,0.145), layer=10, texttype=25))
x8_dac2u32out4in.add(gdstk.Label('ONB[8]', (20.175,0.145), layer=10, texttype=25))
x8_dac2u32out4in.add(gdstk.Label('ON[9]', (21.625,0.145), layer=10, texttype=25))
x8_dac2u32out4in.add(gdstk.Label('ONB[9]', (22.175,0.145), layer=10, texttype=25))
x8_dac2u32out4in.add(gdstk.Label('ON[10]', (23.625,0.145), layer=10, texttype=25))
x8_dac2u32out4in.add(gdstk.Label('ONB[10]', (24.175,0.145), layer=10, texttype=25))
x8_dac2u32out4in.add(gdstk.Label('ON[11]', (25.625,0.145), layer=10, texttype=25))
x8_dac2u32out4in.add(gdstk.Label('ONB[11]', (26.175,0.145), layer=10, texttype=25))
x8_dac2u32out4in.add(gdstk.Label('ON[12]', (27.625,0.145), layer=10, texttype=25))
x8_dac2u32out4in.add(gdstk.Label('ONB[12]', (28.175,0.145), layer=10, texttype=25))
x8_dac2u32out4in.add(gdstk.Label('ON[13]', (29.625,0.145), layer=10, texttype=25))
x8_dac2u32out4in.add(gdstk.Label('ONB[13]', (30.175,0.145), layer=10, texttype=25))
x8_dac2u32out4in.add(gdstk.Label('ON[14]', (31.625,0.145), layer=10, texttype=25))
x8_dac2u32out4in.add(gdstk.Label('ONB[14]', (32.175,0.145), layer=10, texttype=25))
x8_dac2u32out4in.add(gdstk.Label('ON[15]', (33.625,0.145), layer=10, texttype=25))
x8_dac2u32out4in.add(gdstk.Label('ONB[15]', (34.175,0.145), layer=10, texttype=25))
x8_dac2u32out4in.add(gdstk.Label('VcascP[0]', (18.9,4.91), layer=30, texttype=25))
x8_dac2u32out4in.add(gdstk.Label('VSS', (18.9,0.865), layer=30, texttype=25))
x8_dac2u32out4in.add(gdstk.Label('VSS', (18.9,25.325), layer=30, texttype=25))
x8_dac2u32out4in.add(gdstk.Label('VDD', (18.9,3.295), layer=30, texttype=25))
x8_dac2u32out4in.add(gdstk.Label('VDD', (18.9,6.525), layer=30, texttype=25))
x8_dac2u32out4in.add(gdstk.Label('VDD', (18.9,22.895), layer=30, texttype=25))
x8_dac2u32out4in.add(gdstk.Label('VDD', (18.9,19.665), layer=30, texttype=25))
x8_dac2u32out4in.add(gdstk.Label('VcascP[1]', (18.9,21.28), layer=30, texttype=25))

lib.write_gds('X8_dac2u32out4in.gds')
